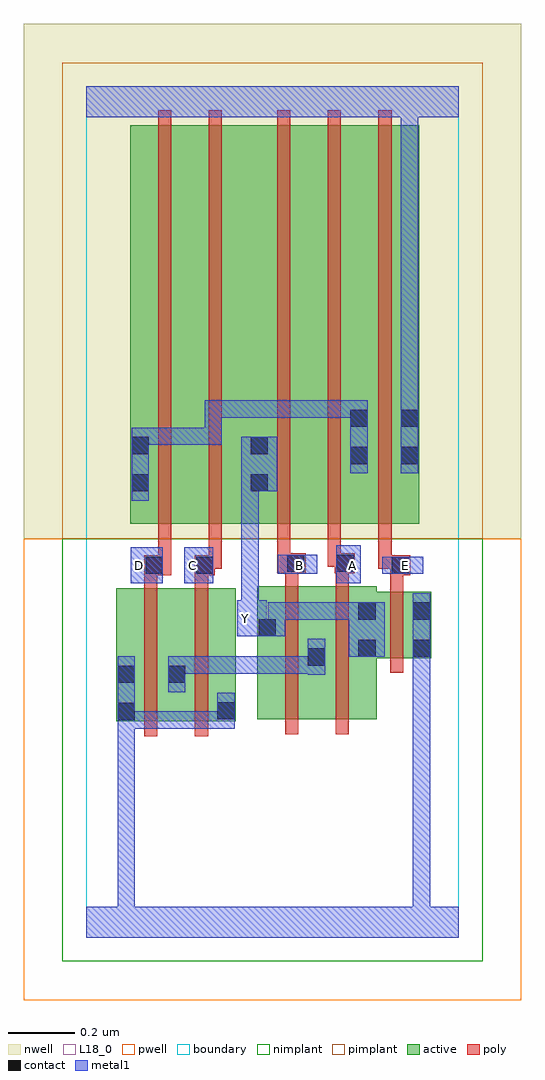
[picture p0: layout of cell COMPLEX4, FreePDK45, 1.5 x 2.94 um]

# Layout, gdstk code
import gdstk
lib = gdstk.Library(unit=1e-6, precision=1e-09)
def R(c, l, rs):  # rectangles x0, y0, x1, y1
    for r in rs: c.add(gdstk.rectangle(r[:2], r[2:], *l))
def A(c, l, x, y, w, h, nx, ny, dx, dy):  # array of equal rectangles
    R(c, l, [(x+i*dx, y+j*dy, x+i*dx+w, y+j*dy+h) for i in range(nx) for j in range(ny)])
active = (1, 0)
pwell = (2, 0)
nwell = (3, 0)
nimplant = (4, 0)
pimplant = (5, 0)
poly = (9, 0)
contact = (10, 0)
metal1 = (11, 0)
L18_0 = (18, 0)
boundary = (235, 0)

complex4 = lib.new_cell('COMPLEX4')
R(complex4, active, [(0.09,0.65,0.302,1.05), (0.09,0.65,0.15,1.05), (0.242,0.65,0.45,1.05), (0.39,0.65,0.45,0.934), (0.514,0.656,0.722,1.056), (0.662,0.656,0.874,1.056), (0.242,0.746,0.302,0.822), (0.514,0.746,0.574,1.056), (0.662,0.746,0.722,1.038), (0.814,0.84,1.038,1.04), (0.814,0.84,0.874,1.018), (0.978,0.84,1.038,1.04), (0.132,1.244,0.312,2.444), (0.132,1.244,0.216,2.4), (0.312,1.244,0.55,2.444), (0.49,1.244,0.67,2.444), (0.67,1.244,0.85,2.444), (0.79,1.244,1.002,2.444), (0.942,1.244,1.002,2.444), (0.49,1.286,0.55,2.296), (0.79,1.286,0.85,2.4)])
R(complex4, pwell, [(-0.188,-0.188,1.308,1.2)])
R(complex4, nwell, [(-0.188,1.2,1.308,2.748)])
R(complex4, nimplant, [(-0.072,-0.072,1.192,1.2)])
R(complex4, pimplant, [(-0.072,1.2,1.192,2.632)])
A(complex4, poly, 0.574, 1.2, 0.04, 1.288, 3, 1, 0.152, 0)
R(complex4, poly, [(0.174,0.606,0.214,1.094), (0.326,0.606,0.366,1.094), (0.598,0.612,0.638,1.1), (0.75,0.612,0.79,1.1), (0.914,0.796,0.954,1.084), (0.914,1.044,0.954,1.13), (0.174,1.054,0.214,1.13), (0.326,1.054,0.366,1.13), (0.598,1.06,0.638,1.136), (0.75,1.06,0.79,1.136), (0.174,1.09,0.214,1.13), (0.174,1.09,0.214,1.13), (0.174,1.09,0.256,1.15), (0.326,1.09,0.386,1.15), (0.914,1.09,0.974,1.15), (0.574,1.096,0.66,1.156), (0.598,1.096,0.638,1.136), (0.598,1.096,0.638,1.136), (0.748,1.096,0.808,1.156), (0.216,1.11,0.256,1.24), (0.346,1.11,0.386,1.15), (0.346,1.11,0.408,1.15), (0.368,1.11,0.408,1.24), (0.878,1.11,0.918,1.24), (0.878,1.11,0.954,1.15), (0.914,1.11,0.954,1.15), (0.574,1.116,0.614,1.24), (0.726,1.116,0.766,1.24), (0.726,1.116,0.788,1.156), (0.748,1.116,0.788,1.156), (0.216,1.2,0.256,2.488), (0.368,1.2,0.408,2.488)])
R(complex4, contact, [(0.094,0.654,0.146,0.706), (0.394,0.656,0.446,0.708), (0.094,0.766,0.146,0.818), (0.246,0.766,0.298,0.818), (0.666,0.818,0.718,0.87), (0.818,0.844,0.87,0.896), (0.982,0.844,1.034,0.896), (0.518,0.906,0.57,0.958), (0.818,0.956,0.87,1.008), (0.982,0.956,1.034,1.008), (0.178,1.094,0.23,1.146), (0.33,1.094,0.382,1.146), (0.918,1.094,0.97,1.146), (0.604,1.1,0.656,1.152), (0.752,1.1,0.804,1.152), (0.136,1.342,0.188,1.394), (0.494,1.342,0.546,1.394), (0.794,1.424,0.846,1.476), (0.946,1.424,0.998,1.476), (0.136,1.454,0.188,1.506), (0.494,1.454,0.546,1.506), (0.794,1.536,0.846,1.588), (0.946,1.536,0.998,1.588)])
R(complex4, metal1, [(0,0,1.12,0.092), (0.094,0.04,0.146,0.092), (0.094,0.04,0.146,0.092), (0.094,0.04,0.146,0.092), (0.094,0.04,0.146,0.092), (0.094,0.04,0.146,0.092), (0.094,0.04,0.146,0.092), (0.094,0.04,0.146,0.092), (0.094,0.04,0.146,0.092), (0.094,0.04,0.146,0.092), (0.094,0.04,0.146,0.092), (0.094,0.04,0.146,0.092), (0.094,0.04,0.146,0.092), (0.094,0.04,0.146,0.678), (0.982,0.04,1.034,0.868), (0.982,0.04,1.034,0.092), (0.982,0.04,1.034,0.092), (0.982,0.04,1.034,0.092), (0.982,0.04,1.034,0.092), (0.982,0.04,1.034,0.092), (0.982,0.04,1.034,0.092), (0.982,0.04,1.034,0.092), (0.982,0.04,1.034,0.092), (0.982,0.04,1.034,0.092), (0.982,0.04,1.034,0.092), (0.982,0.04,1.034,0.092), (0.982,0.04,1.034,0.092), (0.982,0.04,1.034,0.092), (0.982,0.04,1.034,0.092), (0.982,0.04,1.034,0.092), (0.982,0.04,1.034,0.092), (0.094,0.626,0.146,0.846), (0.094,0.628,0.146,0.68), (0.094,0.628,0.146,0.68), (0.094,0.628,0.298,0.68), (0.246,0.628,0.298,0.68), (0.246,0.628,0.298,0.68), (0.246,0.628,0.298,0.68), (0.246,0.628,0.446,0.68), (0.394,0.628,0.446,0.736), (0.246,0.738,0.298,0.846), (0.666,0.79,0.718,0.898), (0.246,0.794,0.298,0.846), (0.246,0.794,0.298,0.846), (0.246,0.794,0.408,0.846), (0.356,0.794,0.408,0.846), (0.356,0.794,0.408,0.846), (0.356,0.794,0.408,0.846), (0.356,0.794,0.408,0.846), (0.356,0.794,0.408,0.846), (0.356,0.794,0.518,0.846), (0.466,0.794,0.518,0.846), (0.466,0.794,0.718,0.846), (0.982,0.816,1.034,1.036), (0.79,0.844,0.898,1.008), (0.454,0.906,0.542,1.014), (0.49,0.906,0.542,0.958), (0.49,0.906,0.598,0.958), (0.546,0.906,0.598,0.958), (0.546,0.906,0.598,1.008), (0.546,0.956,0.732,1.008), (0.68,0.956,0.732,1.008), (0.68,0.956,0.732,1.008), (0.68,0.956,0.732,1.008), (0.68,0.956,0.842,1.008), (0.466,0.962,0.518,1.394), (0.134,1.066,0.23,1.174), (0.294,1.066,0.382,1.174), (0.752,1.066,0.826,1.18), (0.576,1.094,0.694,1.152), (0.89,1.094,1.014,1.146), (0.136,1.314,0.188,1.534), (0.466,1.342,0.518,1.394), (0.466,1.342,0.518,1.394), (0.466,1.342,0.574,1.506), (0.794,1.396,0.846,1.616), (0.946,1.396,0.998,1.616), (0.136,1.482,0.188,1.534), (0.136,1.482,0.188,1.534), (0.136,1.482,0.298,1.534), (0.246,1.482,0.298,1.534), (0.246,1.482,0.298,1.534), (0.246,1.482,0.298,1.534), (0.246,1.482,0.408,1.534), (0.356,1.482,0.408,1.534), (0.356,1.482,0.408,1.616), (0.356,1.564,0.408,1.616), (0.356,1.564,0.608,1.616), (0.556,1.564,0.608,1.616), (0.556,1.564,0.608,1.616), (0.556,1.564,0.608,1.616), (0.556,1.564,0.732,1.616), (0.68,1.564,0.732,1.616), (0.68,1.564,0.732,1.616), (0.68,1.564,0.732,1.616), (0.68,1.564,0.732,1.616), (0.68,1.564,0.732,1.616), (0.68,1.564,0.846,1.616), (0.946,1.564,0.998,2.52), (0,2.468,1.12,2.56)])
A(complex4, L18_0, 0.614, 1.094, 0.052, 0.052, 3, 1, 0.16, 0)
R(complex4, L18_0, [(0,0,1.12,0.092), (0.094,0.04,0.146,0.092), (0.094,0.04,0.146,0.092), (0.094,0.04,0.146,0.092), (0.094,0.04,0.146,0.092), (0.094,0.04,0.146,0.092), (0.094,0.04,0.146,0.092), (0.094,0.04,0.146,0.092), (0.094,0.04,0.146,0.092), (0.094,0.04,0.146,0.092), (0.094,0.04,0.146,0.092), (0.094,0.04,0.146,0.092), (0.094,0.04,0.146,0.092), (0.094,0.04,0.146,0.678), (0.982,0.04,1.034,0.092), (0.982,0.04,1.034,0.092), (0.982,0.04,1.034,0.092), (0.982,0.04,1.034,0.092), (0.982,0.04,1.034,0.092), (0.982,0.04,1.034,0.092), (0.982,0.04,1.034,0.092), (0.982,0.04,1.034,0.092), (0.982,0.04,1.034,0.092), (0.982,0.04,1.034,0.092), (0.982,0.04,1.034,0.092), (0.982,0.04,1.034,0.092), (0.982,0.04,1.034,0.092), (0.982,0.04,1.034,0.092), (0.982,0.04,1.034,0.092), (0.982,0.04,1.034,0.092), (0.982,0.04,1.034,0.868), (0.094,0.626,0.146,0.846), (0.094,0.628,0.146,0.68), (0.094,0.628,0.146,0.68), (0.094,0.628,0.298,0.68), (0.246,0.628,0.298,0.68), (0.246,0.628,0.298,0.68), (0.246,0.628,0.298,0.68), (0.246,0.628,0.446,0.68), (0.394,0.628,0.446,0.736), (0.982,0.816,1.034,1.036), (0.79,0.844,0.898,1.008), (0.454,0.906,0.542,1.014), (0.49,0.906,0.542,0.958), (0.49,0.906,0.598,0.958), (0.546,0.906,0.598,0.958), (0.546,0.906,0.598,1.008), (0.454,0.934,0.506,0.986), (0.546,0.956,0.732,1.008), (0.68,0.956,0.732,1.008), (0.68,0.956,0.732,1.008), (0.68,0.956,0.732,1.008), (0.68,0.956,0.842,1.008), (0.466,0.962,0.518,1.394), (0.134,1.066,0.23,1.174), (0.294,1.066,0.382,1.174), (0.752,1.066,0.826,1.18), (0.134,1.094,0.186,1.146), (0.294,1.094,0.346,1.146), (0.576,1.094,0.694,1.152), (0.89,1.094,1.014,1.146), (0.466,1.342,0.518,1.394), (0.466,1.342,0.518,1.394), (0.466,1.342,0.574,1.506), (0.946,1.396,0.998,1.616), (0.946,1.564,0.998,2.52), (0,2.468,1.12,2.56)])
R(complex4, boundary, [(0,0,1.12,2.56)])
complex4.add(gdstk.Label('A', (0.8,1.12), layer=11, texttype=0))
complex4.add(gdstk.Label('B', (0.64,1.12), layer=11, texttype=0))
complex4.add(gdstk.Label('C', (0.32,1.12), layer=11, texttype=0))
complex4.add(gdstk.Label('D', (0.16,1.12), layer=11, texttype=0))
complex4.add(gdstk.Label('E', (0.96,1.12), layer=11, texttype=0))
complex4.add(gdstk.Label('Y', (0.48,0.96), layer=11, texttype=0))

lib.write_gds('COMPLEX4.gds')
